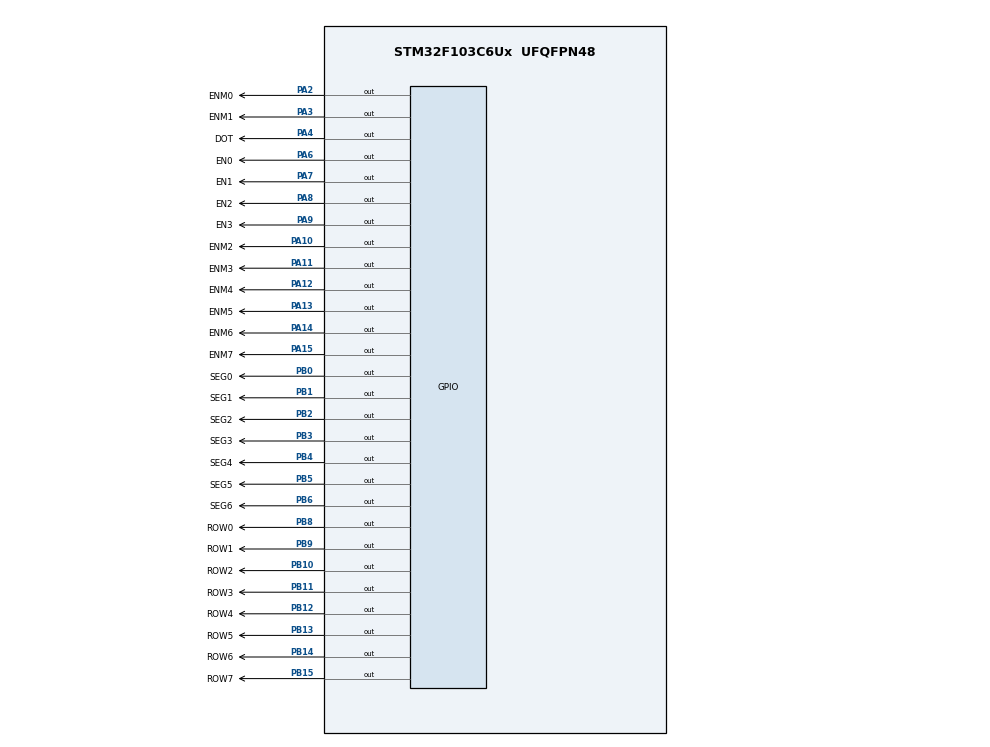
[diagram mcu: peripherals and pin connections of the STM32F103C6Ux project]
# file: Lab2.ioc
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Mcu.Family=STM32F1
Mcu.Name=STM32F103C6Ux
Mcu.Package=UFQFPN48
NVIC.PriorityGroup=NVIC_PRIORITYGROUP_4
NVIC.TIM2_IRQn=true\:0\:0\:false\:false\:true\:true\:true
PA10.GPIO_Label=ENM2
PA10.Signal=GPIO_Output
PA11.GPIO_Label=ENM3
PA11.Signal=GPIO_Output
PA12.GPIO_Label=ENM4
PA12.Signal=GPIO_Output
PA13.GPIO_Label=ENM5
PA13.Signal=GPIO_Output
PA14.GPIO_Label=ENM6
PA14.Signal=GPIO_Output
PA15.GPIO_Label=ENM7
PA15.Signal=GPIO_Output
PA2.GPIO_Label=ENM0
PA2.Signal=GPIO_Output
PA3.GPIO_Label=ENM1
PA3.Signal=GPIO_Output
PA4.GPIO_Label=DOT
PA4.Signal=GPIO_Output
PA6.GPIO_Label=EN0
PA6.Signal=GPIO_Output
PA7.GPIO_Label=EN1
PA7.Signal=GPIO_Output
PA8.GPIO_Label=EN2
PA8.Signal=GPIO_Output
PA9.GPIO_Label=EN3
PA9.Signal=GPIO_Output
PB0.GPIO_Label=SEG0
PB0.Signal=GPIO_Output
PB1.GPIO_Label=SEG1
PB1.Signal=GPIO_Output
PB10.GPIO_Label=ROW2
PB10.Signal=GPIO_Output
PB11.GPIO_Label=ROW3
PB11.Signal=GPIO_Output
PB12.GPIO_Label=ROW4
PB12.Signal=GPIO_Output
PB13.GPIO_Label=ROW5
PB13.Signal=GPIO_Output
PB14.GPIO_Label=ROW6
PB14.Signal=GPIO_Output
PB15.GPIO_Label=ROW7
PB15.Signal=GPIO_Output
PB2.GPIO_Label=SEG2
PB2.Signal=GPIO_Output
PB3.GPIO_Label=SEG3
PB3.Signal=GPIO_Output
PB4.GPIO_Label=SEG4
PB4.Signal=GPIO_Output
PB5.GPIO_Label=SEG5
PB5.Signal=GPIO_Output
PB6.GPIO_Label=SEG6
PB6.Signal=GPIO_Output
PB8.GPIO_Label=ROW0
PB8.Signal=GPIO_Output
PB9.GPIO_Label=ROW1
PB9.Signal=GPIO_Output
ProjectManager.HeapSize=0x200
ProjectManager.StackSize=0x400
ProjectManager.TargetToolchain=STM32CubeIDE
RCC.APB1Freq_Value=8000000
RCC.APB2Freq_Value=8000000
TIM2.Period=9
TIM2.Prescaler=7999
VP_SYS_VS_ND.Mode=No_Debug
VP_TIM2_VS_ClockSourceINT.Mode=Internal
board=custom

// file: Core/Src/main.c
/* USER CODE BEGIN Header */
/**
  ******************************************************************************
  * @file           : main.c
  * @brief          : Main program body
  ******************************************************************************
  * @attention
  *
  * <h2><center>&copy; Copyright (c) 2026 STMicroelectronics.
  * All rights reserved.</center></h2>
  *
  * This software component is licensed by ST under BSD 3-Clause license,
  * the "License"; You may not use this file except in compliance with the
  * License. You may obtain a copy of the License at:
  *                        opensource.org/licenses/BSD-3-Clause
  *
  ******************************************************************************
  */
/* USER CODE END Header */
#include "main.h"

/* USER CODE BEGIN PD */
#define SEG_ON  GPIO_PIN_RESET
#define SEG_OFF GPIO_PIN_SET
#define MATRIX_SCROLL_WIDTH 16
/* USER CODE END PD */

TIM_HandleTypeDef htim2;

void SystemClock_Config(void);
static void MX_TIM2_Init(void);
static void MX_GPIO_Init(void);

/* USER CODE BEGIN 0 */

volatile int timer0_counter = 0;
volatile int timer0_flag = 0;
volatile int timer1_counter = 0;
volatile int timer1_flag = 0;
volatile int timer2_counter = 0;
volatile int timer2_flag = 0;
volatile int timer3_counter = 0;
volatile int timer3_flag = 0;
volatile int timer4_counter = 0;
volatile int timer4_flag = 0;
const int TIMER_CYCLE = 10;

const int MAX_LED = 4;
int index_led = 0;

int led_buffer[4] = {0, 0, 0, 0};
int hour = 15, minute = 8, second = 50;
const int MAX_LED_MATRIX = 8;
int index_led_matrix = 0;
uint8_t matrix_buffer[8] = {
    0x00, 0x7C, 0x0A, 0x09,
    0x09, 0x0A, 0x7C, 0x00
};

static const uint8_t matrix_scroll_data[MATRIX_SCROLL_WIDTH] = {
    0x00, 0x7C, 0x0A, 0x09, 0x09, 0x0A, 0x7C, 0x00,
    0x00, 0x00, 0x00, 0x00, 0x00, 0x00, 0x00, 0x00
};
int matrix_scroll_position = 0;

static uint16_t matrix_enable_pin(int index)
{
    switch (index)
    {
        case 0: return ENM0_Pin;
        case 1: return ENM1_Pin;
        case 2: return ENM2_Pin;
        case 3: return ENM3_Pin;
        case 4: return ENM4_Pin;
        case 5: return ENM5_Pin;
        case 6: return ENM6_Pin;
        case 7: return ENM7_Pin;
        default: return GPIO_PIN_RESET;
    }
}

static uint16_t matrix_row_pin(int index)
{
    switch (index)
    {
        case 0: return ROW0_Pin;
        case 1: return ROW1_Pin;
        case 2: return ROW2_Pin;
        case 3: return ROW3_Pin;
        case 4: return ROW4_Pin;
        case 5: return ROW5_Pin;
        case 6: return ROW6_Pin;
        case 7: return ROW7_Pin;
        default: return GPIO_PIN_RESET;
    }
}

void setTimer0(int duration)
{
    timer0_counter = duration / TIMER_CYCLE;
    timer0_flag = 0;
}

void timer_run(void)
{
    if (timer0_counter > 0)
    {
        timer0_counter--;

        if (timer0_counter == 0)
        {
            timer0_flag = 1;
        }
    }
}

void setTimer1(int duration)
{
    timer1_counter = duration / TIMER_CYCLE;
    timer1_flag = 0;
}

void timer1_run(void)
{
    if (timer1_counter > 0)
    {
        timer1_counter--;

        if (timer1_counter == 0)
        {
            timer1_flag = 1;
        }
    }
}

void setTimer2(int duration)
{
    timer2_counter = duration / TIMER_CYCLE;
    timer2_flag = 0;
}

void timer2_run(void)
{
    if (timer2_counter > 0)
    {
        timer2_counter--;

        if (timer2_counter == 0)
        {
            timer2_flag = 1;
        }
    }
}

void setTimer3(int duration)
{
    timer3_counter = duration / TIMER_CYCLE;
    timer3_flag = 0;
}

void timer3_run(void)
{
    if (timer3_counter > 0)
    {
        timer3_counter--;

        if (timer3_counter == 0)
        {
            timer3_flag = 1;
        }
    }
}

void setTimer4(int duration)
{
    timer4_counter = duration / TIMER_CYCLE;
    timer4_flag = 0;
}

void timer4_run(void)
{
    if (timer4_counter > 0)
    {
        timer4_counter--;
        if (timer4_counter == 0)
        {
            timer4_flag = 1;
        }
    }
}

void scrollMatrixLeft(void)
{
    matrix_scroll_position++;
    if (matrix_scroll_position >= MATRIX_SCROLL_WIDTH)
    {
        matrix_scroll_position = 0;
    }

    for (int col = 0; col < MAX_LED_MATRIX; col++)
    {
        int data_index = (col + matrix_scroll_position) % MATRIX_SCROLL_WIDTH;
        matrix_buffer[col] = matrix_scroll_data[data_index];
    }
}

void updateLEDMatrix(int index)
{
    if (index < 0 || index >= MAX_LED_MATRIX)
    {
        return;
    }

    for (int col = 0; col < MAX_LED_MATRIX; col++)
    {
        HAL_GPIO_WritePin(GPIOA, matrix_enable_pin(col), GPIO_PIN_RESET);
    }

    uint8_t row_data = matrix_buffer[index];
    for (int row = 0; row < MAX_LED_MATRIX; row++)
    {
        HAL_GPIO_WritePin(GPIOB, matrix_row_pin(row),
                          (row_data & (1U << row)) ? GPIO_PIN_SET
                                                  : GPIO_PIN_RESET);
    }

    switch (index)
    {
        case 0:
            HAL_GPIO_WritePin(ENM0_GPIO_Port, ENM0_Pin, GPIO_PIN_SET);
            break;
        case 1:
            HAL_GPIO_WritePin(ENM1_GPIO_Port, ENM1_Pin, GPIO_PIN_SET);
            break;
        case 2:
            HAL_GPIO_WritePin(ENM2_GPIO_Port, ENM2_Pin, GPIO_PIN_SET);
            break;
        case 3:
            HAL_GPIO_WritePin(ENM3_GPIO_Port, ENM3_Pin, GPIO_PIN_SET);
            break;
        case 4:
            HAL_GPIO_WritePin(ENM4_GPIO_Port, ENM4_Pin, GPIO_PIN_SET);
            break;
        case 5:
            HAL_GPIO_WritePin(ENM5_GPIO_Port, ENM5_Pin, GPIO_PIN_SET);
            break;
        case 6:
            HAL_GPIO_WritePin(ENM6_GPIO_Port, ENM6_Pin, GPIO_PIN_SET);
            break;
        case 7:
            HAL_GPIO_WritePin(ENM7_GPIO_Port, ENM7_Pin, GPIO_PIN_SET);
            break;
        default:
            break;
    }
}

static void set7SEG(GPIO_PinState a,
                    GPIO_PinState b,
                    GPIO_PinState c,
                    GPIO_PinState d,
                    GPIO_PinState e,
                    GPIO_PinState f,
                    GPIO_PinState g)
{
    HAL_GPIO_WritePin(SEG0_GPIO_Port, SEG0_Pin, a);
    HAL_GPIO_WritePin(SEG1_GPIO_Port, SEG1_Pin, b);
    HAL_GPIO_WritePin(SEG2_GPIO_Port, SEG2_Pin, c);
    HAL_GPIO_WritePin(SEG3_GPIO_Port, SEG3_Pin, d);
    HAL_GPIO_WritePin(SEG4_GPIO_Port, SEG4_Pin, e);
    HAL_GPIO_WritePin(SEG5_GPIO_Port, SEG5_Pin, f);
    HAL_GPIO_WritePin(SEG6_GPIO_Port, SEG6_Pin, g);
}

void display7SEG(int num)
{
    switch (num)
    {
        case 0:
            set7SEG(SEG_ON, SEG_ON, SEG_ON, SEG_ON,
                    SEG_ON, SEG_ON, SEG_OFF);
            break;

        case 1:
            set7SEG(SEG_OFF, SEG_ON, SEG_ON, SEG_OFF,
                    SEG_OFF, SEG_OFF, SEG_OFF);
            break;

        case 2:
            set7SEG(SEG_ON, SEG_ON, SEG_OFF, SEG_ON,
                    SEG_ON, SEG_OFF, SEG_ON);
            break;

        case 3:
            set7SEG(SEG_ON, SEG_ON, SEG_ON, SEG_ON,
                    SEG_OFF, SEG_OFF, SEG_ON);
            break;

        case 4:
            set7SEG(SEG_OFF, SEG_ON, SEG_ON, SEG_OFF,
                    SEG_OFF, SEG_ON, SEG_ON);
            break;

        case 5:
            set7SEG(SEG_ON, SEG_OFF, SEG_ON, SEG_ON,
                    SEG_OFF, SEG_ON, SEG_ON);
            break;

        case 6:
            set7SEG(SEG_ON, SEG_OFF, SEG_ON, SEG_ON,
                    SEG_ON, SEG_ON, SEG_ON);
            break;

        case 7:
            set7SEG(SEG_ON, SEG_ON, SEG_ON, SEG_OFF,
                    SEG_OFF, SEG_OFF, SEG_OFF);
            break;

        case 8:
            set7SEG(SEG_ON, SEG_ON, SEG_ON, SEG_ON,
                    SEG_ON, SEG_ON, SEG_ON);
            break;

        case 9:
            set7SEG(SEG_ON, SEG_ON, SEG_ON, SEG_ON,
                    SEG_OFF, SEG_ON, SEG_ON);
            break;

        default:
            set7SEG(SEG_OFF, SEG_OFF, SEG_OFF, SEG_OFF,
                    SEG_OFF, SEG_OFF, SEG_OFF);
            break;
    }
}

void update7SEG(int index)
{
    HAL_GPIO_WritePin(EN0_GPIO_Port, EN0_Pin, GPIO_PIN_SET);
    HAL_GPIO_WritePin(EN1_GPIO_Port, EN1_Pin, GPIO_PIN_SET);
    HAL_GPIO_WritePin(EN2_GPIO_Port, EN2_Pin, GPIO_PIN_SET);
    HAL_GPIO_WritePin(EN3_GPIO_Port, EN3_Pin, GPIO_PIN_SET);

    switch (index)
    {
        case 0:
            display7SEG(led_buffer[0]);
            HAL_GPIO_WritePin(EN0_GPIO_Port, EN0_Pin, GPIO_PIN_RESET);
            break;

        case 1:
            display7SEG(led_buffer[1]);
            HAL_GPIO_WritePin(EN1_GPIO_Port, EN1_Pin, GPIO_PIN_RESET);
            break;

        case 2:
            display7SEG(led_buffer[2]);
            HAL_GPIO_WritePin(EN2_GPIO_Port, EN2_Pin, GPIO_PIN_RESET);
            break;

        case 3:
            display7SEG(led_buffer[3]);
            HAL_GPIO_WritePin(EN3_GPIO_Port, EN3_Pin, GPIO_PIN_RESET);
            break;

        default:
            break;
    }
}

void updateClockBuffer(void)
{
    led_buffer[0] = hour / 10;
    led_buffer[1] = hour % 10;

    led_buffer[2] = minute / 10;
    led_buffer[3] = minute % 10;
}

/* USER CODE END 0 */

int main(void)
{

  /* MCU Configuration--------------------------------------------------------*/

  /* Reset of all peripherals, Initializes the Flash interface and the Systick. */
  HAL_Init();

  /* Configure the system clock */
  SystemClock_Config();

  /* Initialize all configured peripherals */
  MX_TIM2_Init();
  MX_GPIO_Init();
  /* USER CODE BEGIN 2 */

  __HAL_RCC_AFIO_CLK_ENABLE();
  __HAL_AFIO_REMAP_SWJ_DISABLE();

  // Ban dau tat ca cac cot va hang cua Matrix deu tat
  HAL_GPIO_WritePin(GPIOA,
      ENM0_Pin | ENM1_Pin | ENM2_Pin | ENM3_Pin |
      ENM4_Pin | ENM5_Pin | ENM6_Pin | ENM7_Pin,
      GPIO_PIN_RESET);

  HAL_GPIO_WritePin(GPIOB,
      ROW0_Pin | ROW1_Pin | ROW2_Pin | ROW3_Pin |
      ROW4_Pin | ROW5_Pin | ROW6_Pin | ROW7_Pin,
      GPIO_PIN_RESET);

  updateClockBuffer();
  setTimer0(1000);   // clock
  setTimer1(1000);   // DOT
  setTimer2(250);    // 7-segment scanning
  setTimer3(10);     // LED Matrix: 10ms per column
  setTimer4(300);    // Ex10: dich chu A moi 300ms

  HAL_TIM_Base_Start_IT(&htim2);

  /* USER CODE END 2 */

  /* Infinite loop */
  /* USER CODE BEGIN WHILE */
  while (1)
  {
    if (timer0_flag == 1)
    {
        second++;

        if (second >= 60)
        {
            second = 0;
            minute++;
        }

        if (minute >= 60)
        {
            minute = 0;
            hour++;
        }

        if (hour >= 24)
        {
            hour = 0;
        }

        updateClockBuffer();
        setTimer0(1000);
    }

    if (timer1_flag == 1)
    {
        HAL_GPIO_TogglePin(DOT_GPIO_Port, DOT_Pin);
        setTimer1(1000);
    }

    if (timer2_flag == 1)
    {
        update7SEG(index_led);

        index_led++;
        if (index_led >= MAX_LED)
        {
            index_led = 0;
        }

        setTimer2(250);
    }

    if (timer3_flag == 1)
    {
        updateLEDMatrix(index_led_matrix);

        index_led_matrix++;
        if (index_led_matrix >= MAX_LED_MATRIX)
        {
            index_led_matrix = 0;
        }

        setTimer3(10);
    }

    if (timer4_flag == 1)
    {
        scrollMatrixLeft();
        setTimer4(300);
    }
    /* USER CODE END WHILE */

  }
}

void SystemClock_Config(void)
{
  RCC_OscInitTypeDef RCC_OscInitStruct = {0};
  RCC_ClkInitTypeDef RCC_ClkInitStruct = {0};

  /** Initializes the RCC Oscillators according to the specified parameters
  * in the RCC_OscInitTypeDef structure.
  */
  RCC_OscInitStruct.OscillatorType = RCC_OSCILLATORTYPE_HSI;
  RCC_OscInitStruct.HSIState = RCC_HSI_ON;
  RCC_OscInitStruct.HSICalibrationValue = RCC_HSICALIBRATION_DEFAULT;
  RCC_OscInitStruct.PLL.PLLState = RCC_PLL_NONE;
  if (HAL_RCC_OscConfig(&RCC_OscInitStruct) != HAL_OK)
  {
    Error_Handler();
  }
  /** Initializes the CPU, AHB and APB buses clocks
  */
  RCC_ClkInitStruct.ClockType = RCC_CLOCKTYPE_HCLK|RCC_CLOCKTYPE_SYSCLK
                              |RCC_CLOCKTYPE_PCLK1|RCC_CLOCKTYPE_PCLK2;
  RCC_ClkInitStruct.SYSCLKSource = RCC_SYSCLKSOURCE_HSI;
  RCC_ClkInitStruct.AHBCLKDivider = RCC_SYSCLK_DIV1;
  RCC_ClkInitStruct.APB1CLKDivider = RCC_HCLK_DIV1;
  RCC_ClkInitStruct.APB2CLKDivider = RCC_HCLK_DIV1;

  if (HAL_RCC_ClockConfig(&RCC_ClkInitStruct, FLASH_LATENCY_0) != HAL_OK)
  {
    Error_Handler();
  }
}

static void MX_TIM2_Init(void)
{

  TIM_ClockConfigTypeDef sClockSourceConfig = {0};
  TIM_MasterConfigTypeDef sMasterConfig = {0};

  htim2.Instance = TIM2;
  htim2.Init.Prescaler = 7999;
  htim2.Init.CounterMode = TIM_COUNTERMODE_UP;
  htim2.Init.Period = 9;
  htim2.Init.ClockDivision = TIM_CLOCKDIVISION_DIV1;
  htim2.Init.AutoReloadPreload = TIM_AUTORELOAD_PRELOAD_DISABLE;
  if (HAL_TIM_Base_Init(&htim2) != HAL_OK)
  {
    Error_Handler();
  }
  sClockSourceConfig.ClockSource = TIM_CLOCKSOURCE_INTERNAL;
  if (HAL_TIM_ConfigClockSource(&htim2, &sClockSourceConfig) != HAL_OK)
  {
    Error_Handler();
  }
  sMasterConfig.MasterOutputTrigger = TIM_TRGO_RESET;
  sMasterConfig.MasterSlaveMode = TIM_MASTERSLAVEMODE_DISABLE;
  if (HAL_TIMEx_MasterConfigSynchronization(&htim2, &sMasterConfig) != HAL_OK)
  {
    Error_Handler();
  }

}

static void MX_GPIO_Init(void)
{
  GPIO_InitTypeDef GPIO_InitStruct = {0};

  /* GPIO Ports Clock Enable */
  __HAL_RCC_GPIOA_CLK_ENABLE();
  __HAL_RCC_GPIOB_CLK_ENABLE();

  /*Configure GPIO pin Output Level */
  HAL_GPIO_WritePin(GPIOA, ENM0_Pin|ENM1_Pin|DOT_Pin|EN0_Pin
                          |EN1_Pin|EN2_Pin|EN3_Pin|ENM2_Pin
                          |ENM3_Pin|ENM4_Pin|ENM5_Pin|ENM6_Pin
                          |ENM7_Pin, GPIO_PIN_RESET);

  /*Configure GPIO pin Output Level */
  HAL_GPIO_WritePin(GPIOB, SEG0_Pin|SEG1_Pin|SEG2_Pin|ROW2_Pin
                          |ROW3_Pin|ROW4_Pin|ROW5_Pin|ROW6_Pin
                          |ROW7_Pin|SEG3_Pin|SEG4_Pin|SEG5_Pin
                          |SEG6_Pin|ROW0_Pin|ROW1_Pin, GPIO_PIN_RESET);

  /*Configure GPIO pins : ENM0_Pin ENM1_Pin DOT_Pin EN0_Pin
                           EN1_Pin EN2_Pin EN3_Pin ENM2_Pin
                           ENM3_Pin ENM4_Pin ENM5_Pin ENM6_Pin
                           ENM7_Pin */
  GPIO_InitStruct.Pin = ENM0_Pin|ENM1_Pin|DOT_Pin|EN0_Pin
                          |EN1_Pin|EN2_Pin|EN3_Pin|ENM2_Pin
                          |ENM3_Pin|ENM4_Pin|ENM5_Pin|ENM6_Pin
                          |ENM7_Pin;
  GPIO_InitStruct.Mode = GPIO_MODE_OUTPUT_PP;
  GPIO_InitStruct.Pull = GPIO_NOPULL;
  GPIO_InitStruct.Speed = GPIO_SPEED_FREQ_LOW;
  HAL_GPIO_Init(GPIOA, &GPIO_InitStruct);

  /*Configure GPIO pins : SEG0_Pin SEG1_Pin SEG2_Pin ROW2_Pin
                           ROW3_Pin ROW4_Pin ROW5_Pin ROW6_Pin
                           ROW7_Pin SEG3_Pin SEG4_Pin SEG5_Pin
                           SEG6_Pin ROW0_Pin ROW1_Pin */
  GPIO_InitStruct.Pin = SEG0_Pin|SEG1_Pin|SEG2_Pin|ROW2_Pin
                          |ROW3_Pin|ROW4_Pin|ROW5_Pin|ROW6_Pin
                          |ROW7_Pin|SEG3_Pin|SEG4_Pin|SEG5_Pin
                          |SEG6_Pin|ROW0_Pin|ROW1_Pin;
  GPIO_InitStruct.Mode = GPIO_MODE_OUTPUT_PP;
  GPIO_InitStruct.Pull = GPIO_NOPULL;
  GPIO_InitStruct.Speed = GPIO_SPEED_FREQ_LOW;
  HAL_GPIO_Init(GPIOB, &GPIO_InitStruct);

}

/* USER CODE BEGIN 4 */

void HAL_TIM_PeriodElapsedCallback(TIM_HandleTypeDef *htim)
{
    if (htim->Instance == TIM2)
    {
        timer_run();
        timer1_run();
        timer2_run();
        timer3_run();
        timer4_run();
    }
}

/* USER CODE END 4 */

void Error_Handler(void)
{
  __disable_irq();
  while (1)
  {
  }
}

/************************ (C) COPYRIGHT STMicroelectronics *****END OF FILE****/
